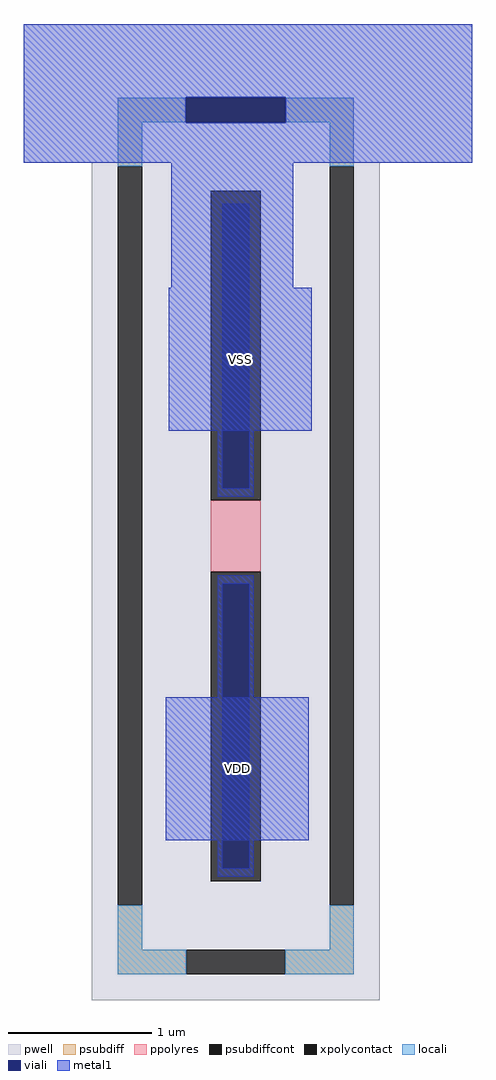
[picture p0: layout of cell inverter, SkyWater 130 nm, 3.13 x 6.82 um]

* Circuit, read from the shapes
.subckt inverter VDD VSS
XR1 VSS VDD VSS sky130_fd_pr__res_high_po w=0.35 l=0.5
.ends

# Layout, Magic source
magic
tech sky130A
magscale 1 2
<< pwell >>
rect -148 1716 478 1910
rect 58 1448 228 1716
<< viali >>
rect 78 1772 218 1808
<< metal1 >>
rect -148 1808 478 1910
rect -148 1772 78 1808
rect 218 1772 478 1808
rect -148 1716 478 1772
rect 58 1542 228 1716
rect 54 1342 254 1542
rect 50 770 250 970
use sky130_fd_pr__res_high_po_0p35_H5J6FD  XR1
transform 1 0 148 0 1 1195
box -201 -648 201 648
<< labels >>
flabel metal1 50 770 250 970 0 FreeSans 256 0 0 0 VDD
port 0 nsew
flabel metal1 54 1342 254 1542 0 FreeSans 256 0 0 0 VSS
port 1 nsew
<< end >>

# cell sky130_fd_pr__res_high_po_0p35_H5J6FD: kit device sky130_fd_pr__res_high_po_0p35, w 0.350 l 0.50 m 1 nx 1 wmin 0.350 lmin 0.50 rho 319.8 val 1.433k dummy 0 dw 0.0 term 194.82 sterm 0.0 caplen 0 guard 1 glc 1 grc 1 gtc 1 gbc 1 compatible {sky130_fd_pr__res_high_po_0p35 sky130_fd_pr__res_high_po_0p69 sky130_fd_pr__res_high_po_1p41 sky130_fd_pr__res_high_po_2p85 sky130_fd_pr__res_high_po_5p73} snake 0 full_metal 1 wmax 0.350 vias 1 n_guard 0 hv_guard 0 viagb 0 viagt 0 viagl 0 viagr 0
